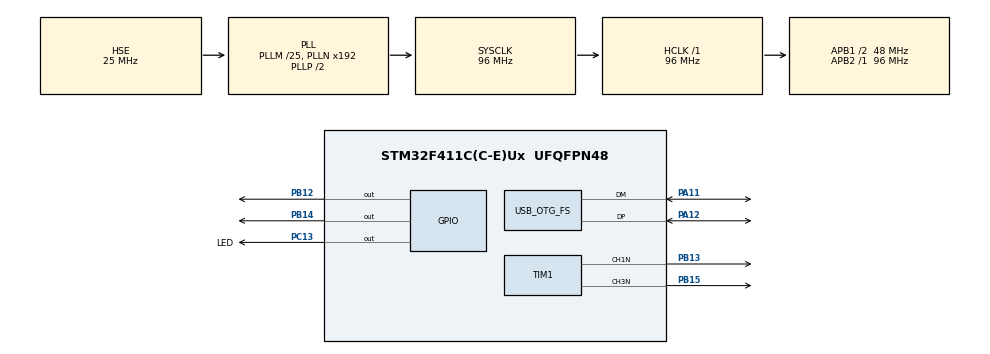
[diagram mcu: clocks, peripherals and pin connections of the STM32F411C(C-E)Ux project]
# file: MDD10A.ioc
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Mcu.Family=STM32F4
Mcu.Name=STM32F411C(C-E)Ux
Mcu.Package=UFQFPN48
NVIC.OTG_FS_IRQn=true\:0\:0\:false\:false\:true\:false\:true\:true
NVIC.PriorityGroup=NVIC_PRIORITYGROUP_4
NVIC.TIM4_IRQn=true\:0\:0\:false\:false\:true\:true\:true\:true
PA11.Mode=Device_Only
PA11.Signal=USB_OTG_FS_DM
PA12.Mode=Device_Only
PA12.Signal=USB_OTG_FS_DP
PB12.Signal=GPIO_Output
PB13.Mode=PWM Generation1 CH1N
PB13.Signal=TIM1_CH1N
PB14.Signal=GPIO_Output
PB15.Mode=PWM Generation3 CH3N
PB15.Signal=TIM1_CH3N
PC13-ANTI_TAMP.GPIO_Label=LED
PC13-ANTI_TAMP.Signal=GPIO_Output
PH0\ -\ OSC_IN.Mode=HSE-External-Oscillator
PH0\ -\ OSC_IN.Signal=RCC_OSC_IN
PH1\ -\ OSC_OUT.Mode=HSE-External-Oscillator
PH1\ -\ OSC_OUT.Signal=RCC_OSC_OUT
ProjectManager.HeapSize=0x200
ProjectManager.StackSize=0x400
ProjectManager.TargetToolchain=STM32CubeIDE
RCC.48MHZClocksFreq_Value=48000000
RCC.AHBFreq_Value=96000000
RCC.APB1CLKDivider=RCC_HCLK_DIV2
RCC.APB1Freq_Value=48000000
RCC.APB1TimFreq_Value=96000000
RCC.APB2Freq_Value=96000000
RCC.APB2TimFreq_Value=96000000
RCC.CortexFreq_Value=96000000
RCC.HCLKFreq_Value=96000000
RCC.HSE_VALUE=25000000
RCC.HSI_VALUE=16000000
RCC.LSE_VALUE=32768
RCC.PLLM=25
RCC.SYSCLKFreq_VALUE=96000000
RCC.SYSCLKSource=RCC_SYSCLKSOURCE_PLLCLK
RCC.VCOOutputFreq_Value=192000000
TIM1.Channel-PWM\ Generation1\ CH1N=TIM_CHANNEL_1
TIM1.Channel-PWM\ Generation3\ CH3N=TIM_CHANNEL_3
TIM4.AutoReloadPreload=TIM_AUTORELOAD_PRELOAD_ENABLE
TIM4.Period=1000
TIM4.Prescaler=95
USB_DEVICE.CLASS_NAME_FS=CDC
USB_DEVICE.VirtualMode=Cdc
USB_DEVICE.VirtualModeFS=Cdc_FS
USB_OTG_FS.VirtualMode=Device_Only
VP_TIM1_VS_ClockSourceINT.Mode=Internal
VP_TIM4_VS_ClockSourceINT.Mode=Internal
VP_USB_DEVICE_VS_USB_DEVICE_CDC_FS.Mode=CDC_FS
board=custom

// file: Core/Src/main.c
/* USER CODE BEGIN Header */
/**
 ******************************************************************************
 * @file           : main.c
 * @brief          : Main program body
 ******************************************************************************
 * @attention
 *
 * Copyright (c) 2024 STMicroelectronics.
 * All rights reserved.
 *
 * This software is licensed under terms that can be found in the LICENSE file
 * in the root directory of this software component.
 * If no LICENSE file comes with this software, it is provided AS-IS.
 *
 ******************************************************************************
 */
/* USER CODE END Header */
#include "main.h"
#include "usb_device.h"

/* USER CODE BEGIN Includes */
#include "usbd_cdc_if.h"
#include "string.h"

/* USER CODE END Includes */

/* USER CODE BEGIN PTD */
typedef struct {
	GPIO_TypeDef *PORT;
	uint16_t PIN;
	TIM_HandleTypeDef TIMER;
	uint32_t CHANNEL;
	uint8_t DIR;
	uint16_t PWM;
} MOT_TypeDef;

/* USER CODE END PTD */

/* USER CODE BEGIN PD */
#define BUFFER_LENGTH 64
#define SOL_INTERVAL 10000

#define NO_OF_MOTORS 2

/* USER CODE END PD */

TIM_HandleTypeDef htim1;
TIM_HandleTypeDef htim4;

/* USER CODE BEGIN PV */
char buffer[BUFFER_LENGTH];

uint8_t errorFlag = 0;

/* USER CODE END PV */

void SystemClock_Config(void);
static void MX_GPIO_Init(void);
static void MX_TIM1_Init(void);
static void MX_TIM4_Init(void);

/* USER CODE BEGIN 0 */
int isCleared(char *buffer) {
	for (uint8_t i = 0; i < BUFFER_LENGTH; i++) {
		if (buffer[i] != '\0') {
			return 0;  // Buffer is not cleared
		}
	}
	return 1;  // Buffer is cleared
}

/* USER CODE END 0 */

int main(void) {

	/* USER CODE BEGIN 1 */
	uint32_t lastSOL = 0;

	char message[BUFFER_LENGTH + 20];

	MOT_TypeDef motor[NO_OF_MOTORS];
	motor[0].PORT = GPIOB;
	motor[0].PIN = GPIO_PIN_12;
	motor[0].TIMER = htim1;
	motor[0].CHANNEL = TIM_CHANNEL_1;
	motor[0].DIR = 0;
	motor[0].PWM = 0;

	motor[1].PORT = GPIOB;
	motor[1].PIN = GPIO_PIN_14;
	motor[1].TIMER = htim1;
	motor[1].CHANNEL = TIM_CHANNEL_3;
	motor[1].DIR = 0;
	motor[1].PWM = 0;
	/* USER CODE END 1 */

	/* MCU Configuration--------------------------------------------------------*/

	/* Reset of all peripherals, Initializes the Flash interface and the Systick. */
	HAL_Init();

	/* Configure the system clock */
	SystemClock_Config();

	/* Initialize all configured peripherals */
	MX_GPIO_Init();
	MX_USB_DEVICE_Init();
	MX_TIM1_Init();
	MX_TIM4_Init();
	/* USER CODE BEGIN 2 */
	HAL_GPIO_WritePin(GPIOC, GPIO_PIN_13, GPIO_PIN_RESET);

	for (uint8_t i = 0; i < NO_OF_MOTORS; i++) {
		if ((HAL_TIMEx_PWMN_Start(&(motor[i].TIMER), motor[i].CHANNEL) == HAL_OK)) {
			sprintf(message, "Motor %d PWM initialised\n\r", i);
		} else {
			sprintf(message, "Error initialising motor %d PWM\n\r", i);
			errorFlag = 1;
		}

		HAL_GPIO_WritePin(motor[i].PORT, motor[i].PIN, GPIO_PIN_RESET);
		__HAL_TIM_SET_COMPARE(&(motor[i].TIMER), motor[i].CHANNEL, 0);

		CDC_Transmit_FS((uint8_t*) message, strlen(message));
		HAL_Delay(1);
	}

	if (!errorFlag) {
		sprintf(message, "All systems operational\n\r");
		CDC_Transmit_FS((uint8_t*) message, strlen(message));
		HAL_Delay(1);

		sprintf(message, "F411 Black Pill online\n\r");
		CDC_Transmit_FS((uint8_t*) message, strlen(message));
		HAL_Delay(1);
	} else {
		sprintf(message, "STM started with some errors\n\r");
		CDC_Transmit_FS((uint8_t*) message, strlen(message));
		HAL_Delay(1);
	}
	/* USER CODE END 2 */

	/* Infinite loop */
	/* USER CODE BEGIN WHILE */
	while (1) {
		uint32_t current_time = HAL_GetTick();

		if (!isCleared(buffer)) {
			char receivedStr[BUFFER_LENGTH];

			sprintf(message, "String Received: %s\n\r", buffer);
			CDC_Transmit_FS((uint8_t*) message, strlen(message));

			sprintf(receivedStr, "%s", buffer);
			uint8_t receivedStrlen = strlen(receivedStr);

			if (receivedStr[receivedStrlen - 1] == 'A') {
				uint8_t arrIndex = NO_OF_MOTORS - 1;
				uint8_t multiplier = 1;

				for (uint8_t i = 0; i < NO_OF_MOTORS; i++) {
					motor[i].DIR = 0;
					motor[i].PWM = 0;
				}

				for (int8_t i = receivedStrlen - 2; i >= 0; i--) {
					if (receivedStr[i] >= '0' && receivedStr[i] <= '9') {
						motor[arrIndex].PWM += (receivedStr[i] - '0')
								* multiplier;
						multiplier *= 10;
					} else if (receivedStr[i] == '-') {
						motor[arrIndex].DIR = 1;
					} else if (receivedStr[i] == ',') {
						arrIndex--;
						multiplier = 1;
					}
				}
			}

			for (uint8_t i = 0; i < NO_OF_MOTORS; i++) {
				HAL_GPIO_WritePin(motor[i].PORT, motor[i].PIN, motor[i].DIR);
				__HAL_TIM_SET_COMPARE(&(motor[i].TIMER), motor[i].CHANNEL,
						motor[i].PWM);

				sprintf(message, "Dir%d: %d PWM%d: %d\n\r", i, motor[i].DIR, i,
						motor[i].PWM);
				CDC_Transmit_FS((uint8_t*) message, strlen(message));
			}

			memset(buffer, '\0', BUFFER_LENGTH);

		} else if (current_time - lastSOL >= SOL_INTERVAL) {
			CDC_Transmit_FS((uint8_t*) "SOL\n\r", strlen("SOL\n\r"));
			lastSOL = current_time;
		}

		HAL_Delay(1);
		/* USER CODE END WHILE */

	}
}

void SystemClock_Config(void) {
	RCC_OscInitTypeDef RCC_OscInitStruct = { 0 };
	RCC_ClkInitTypeDef RCC_ClkInitStruct = { 0 };

	/** Configure the main internal regulator output voltage
	 */
	__HAL_RCC_PWR_CLK_ENABLE();
	__HAL_PWR_VOLTAGESCALING_CONFIG(PWR_REGULATOR_VOLTAGE_SCALE1);

	/** Initializes the RCC Oscillators according to the specified parameters
	 * in the RCC_OscInitTypeDef structure.
	 */
	RCC_OscInitStruct.OscillatorType = RCC_OSCILLATORTYPE_HSE;
	RCC_OscInitStruct.HSEState = RCC_HSE_ON;
	RCC_OscInitStruct.PLL.PLLState = RCC_PLL_ON;
	RCC_OscInitStruct.PLL.PLLSource = RCC_PLLSOURCE_HSE;
	RCC_OscInitStruct.PLL.PLLM = 25;
	RCC_OscInitStruct.PLL.PLLN = 192;
	RCC_OscInitStruct.PLL.PLLP = RCC_PLLP_DIV2;
	RCC_OscInitStruct.PLL.PLLQ = 4;
	if (HAL_RCC_OscConfig(&RCC_OscInitStruct) != HAL_OK) {
		Error_Handler();
	}

	/** Initializes the CPU, AHB and APB buses clocks
	 */
	RCC_ClkInitStruct.ClockType = RCC_CLOCKTYPE_HCLK | RCC_CLOCKTYPE_SYSCLK
			| RCC_CLOCKTYPE_PCLK1 | RCC_CLOCKTYPE_PCLK2;
	RCC_ClkInitStruct.SYSCLKSource = RCC_SYSCLKSOURCE_PLLCLK;
	RCC_ClkInitStruct.AHBCLKDivider = RCC_SYSCLK_DIV1;
	RCC_ClkInitStruct.APB1CLKDivider = RCC_HCLK_DIV2;
	RCC_ClkInitStruct.APB2CLKDivider = RCC_HCLK_DIV1;

	if (HAL_RCC_ClockConfig(&RCC_ClkInitStruct, FLASH_LATENCY_3) != HAL_OK) {
		Error_Handler();
	}
}

static void MX_TIM1_Init(void) {

	TIM_ClockConfigTypeDef sClockSourceConfig = { 0 };
	TIM_MasterConfigTypeDef sMasterConfig = { 0 };
	TIM_OC_InitTypeDef sConfigOC = { 0 };
	TIM_BreakDeadTimeConfigTypeDef sBreakDeadTimeConfig = { 0 };

	htim1.Instance = TIM1;
	htim1.Init.Prescaler = 0;
	htim1.Init.CounterMode = TIM_COUNTERMODE_UP;
	htim1.Init.Period = 65535;
	htim1.Init.ClockDivision = TIM_CLOCKDIVISION_DIV1;
	htim1.Init.RepetitionCounter = 0;
	htim1.Init.AutoReloadPreload = TIM_AUTORELOAD_PRELOAD_DISABLE;
	if (HAL_TIM_Base_Init(&htim1) != HAL_OK) {
		Error_Handler();
	}
	sClockSourceConfig.ClockSource = TIM_CLOCKSOURCE_INTERNAL;
	if (HAL_TIM_ConfigClockSource(&htim1, &sClockSourceConfig) != HAL_OK) {
		Error_Handler();
	}
	if (HAL_TIM_PWM_Init(&htim1) != HAL_OK) {
		Error_Handler();
	}
	sMasterConfig.MasterOutputTrigger = TIM_TRGO_RESET;
	sMasterConfig.MasterSlaveMode = TIM_MASTERSLAVEMODE_DISABLE;
	if (HAL_TIMEx_MasterConfigSynchronization(&htim1, &sMasterConfig)
			!= HAL_OK) {
		Error_Handler();
	}
	sConfigOC.OCMode = TIM_OCMODE_PWM1;
	sConfigOC.Pulse = 0;
	sConfigOC.OCPolarity = TIM_OCPOLARITY_HIGH;
	sConfigOC.OCNPolarity = TIM_OCNPOLARITY_HIGH;
	sConfigOC.OCFastMode = TIM_OCFAST_DISABLE;
	sConfigOC.OCIdleState = TIM_OCIDLESTATE_RESET;
	sConfigOC.OCNIdleState = TIM_OCNIDLESTATE_RESET;
	if (HAL_TIM_PWM_ConfigChannel(&htim1, &sConfigOC, TIM_CHANNEL_1)
			!= HAL_OK) {
		Error_Handler();
	}
	if (HAL_TIM_PWM_ConfigChannel(&htim1, &sConfigOC, TIM_CHANNEL_3)
			!= HAL_OK) {
		Error_Handler();
	}
	sBreakDeadTimeConfig.OffStateRunMode = TIM_OSSR_DISABLE;
	sBreakDeadTimeConfig.OffStateIDLEMode = TIM_OSSI_DISABLE;
	sBreakDeadTimeConfig.LockLevel = TIM_LOCKLEVEL_OFF;
	sBreakDeadTimeConfig.DeadTime = 0;
	sBreakDeadTimeConfig.BreakState = TIM_BREAK_DISABLE;
	sBreakDeadTimeConfig.BreakPolarity = TIM_BREAKPOLARITY_HIGH;
	sBreakDeadTimeConfig.AutomaticOutput = TIM_AUTOMATICOUTPUT_DISABLE;
	if (HAL_TIMEx_ConfigBreakDeadTime(&htim1, &sBreakDeadTimeConfig)
			!= HAL_OK) {
		Error_Handler();
	}
	HAL_TIM_MspPostInit(&htim1);

}

static void MX_TIM4_Init(void) {

	TIM_ClockConfigTypeDef sClockSourceConfig = { 0 };
	TIM_MasterConfigTypeDef sMasterConfig = { 0 };

	htim4.Instance = TIM4;
	htim4.Init.Prescaler = 95;
	htim4.Init.CounterMode = TIM_COUNTERMODE_UP;
	htim4.Init.Period = 1000;
	htim4.Init.ClockDivision = TIM_CLOCKDIVISION_DIV1;
	htim4.Init.AutoReloadPreload = TIM_AUTORELOAD_PRELOAD_ENABLE;
	if (HAL_TIM_Base_Init(&htim4) != HAL_OK) {
		Error_Handler();
	}
	sClockSourceConfig.ClockSource = TIM_CLOCKSOURCE_INTERNAL;
	if (HAL_TIM_ConfigClockSource(&htim4, &sClockSourceConfig) != HAL_OK) {
		Error_Handler();
	}
	sMasterConfig.MasterOutputTrigger = TIM_TRGO_RESET;
	sMasterConfig.MasterSlaveMode = TIM_MASTERSLAVEMODE_DISABLE;
	if (HAL_TIMEx_MasterConfigSynchronization(&htim4, &sMasterConfig)
			!= HAL_OK) {
		Error_Handler();
	}

}

static void MX_GPIO_Init(void) {
	GPIO_InitTypeDef GPIO_InitStruct = { 0 };

	/* GPIO Ports Clock Enable */
	__HAL_RCC_GPIOC_CLK_ENABLE();
	__HAL_RCC_GPIOH_CLK_ENABLE();
	__HAL_RCC_GPIOB_CLK_ENABLE();
	__HAL_RCC_GPIOA_CLK_ENABLE();

	/*Configure GPIO pin Output Level */
	HAL_GPIO_WritePin(LED_GPIO_Port, LED_Pin, GPIO_PIN_RESET);

	/*Configure GPIO pin Output Level */
	HAL_GPIO_WritePin(GPIOB, GPIO_PIN_12 | GPIO_PIN_14, GPIO_PIN_RESET);

	/*Configure GPIO pin : LED_Pin */
	GPIO_InitStruct.Pin = LED_Pin;
	GPIO_InitStruct.Mode = GPIO_MODE_OUTPUT_PP;
	GPIO_InitStruct.Pull = GPIO_NOPULL;
	GPIO_InitStruct.Speed = GPIO_SPEED_FREQ_LOW;
	HAL_GPIO_Init(LED_GPIO_Port, &GPIO_InitStruct);

	/*Configure GPIO pins : PB12 PB14 */
	GPIO_InitStruct.Pin = GPIO_PIN_12 | GPIO_PIN_14;
	GPIO_InitStruct.Mode = GPIO_MODE_OUTPUT_PP;
	GPIO_InitStruct.Pull = GPIO_NOPULL;
	GPIO_InitStruct.Speed = GPIO_SPEED_FREQ_LOW;
	HAL_GPIO_Init(GPIOB, &GPIO_InitStruct);

}

/* USER CODE BEGIN 4 */
void HAL_TIM_PeriodElapsedCallback(TIM_HandleTypeDef* htim)
{
	if(errorFlag){
		HAL_GPIO_TogglePin(GPIOC, GPIO_PIN_13);
	}

}

/* USER CODE END 4 */

void Error_Handler(void) {
	__disable_irq();
	while (1) {
	}
}
